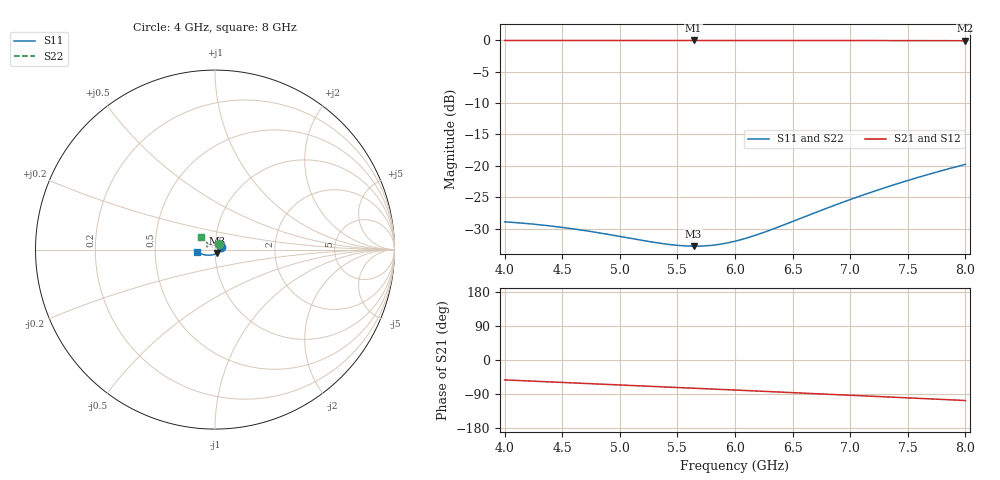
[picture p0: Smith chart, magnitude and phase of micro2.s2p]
! Sonnet Data File
! From: emgraph Version : 15.53-Lite
! From Emgraph Data: micro2
! Data File Written: 12/04/2014 16:25:20
!< HDATE 12/04/2014 16:14:41
!< MDATE 12/04/2014 16:14:41
# GHZ S RI R 50.00000
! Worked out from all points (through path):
!   201 points, 4 GHz to 8 GHz, reference 50 ohm
!   highest |S21| = 0.00 dB at 5.64 GHz (marker M1); lowest = 0.0 dB at 8 GHz (marker M2)
!   group delay of S21, straight-line fit = 37.8 ps
!   lowest |S11| = -32.8 dB at 5.64 GHz (marker M3), VSWR 1.05, Z = 51.2 - j1.99 ohm
!   |S11| at or under -10 dB: start of sweep to end of sweep
!   |S22| runs from -32.8 to -19.8 dB; largest |S21 - S12| = 0
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4  0.0338 0.0117  0.6082 -0.7929  0.6082 -0.7929  0.02 0.0297
!< P1 F=4.0 Eeff=(6.1975274 -5.7859e-4) Z0=(67.8871587 0.00316838) R=0.08298377 C=0.04148466
!< P2 F=4.0 Eeff=(6.1975274 -5.7859e-4) Z0=(67.8871587 0.00316838) R=0.08298377 C=0.04148466
4.18  0.0337 0.00863  0.5747 -0.8176  0.5747 -0.8176  0.0195 0.0288
4.34  0.0331 0.00573  0.544 -0.8384  0.544 -0.8384  0.0187 0.028
4.52  0.032 0.0023  0.5086 -0.8604  0.5086 -0.8604  0.0174 0.027
4.68  0.0306 -0.000838  0.4762 -0.8787  0.4762 -0.8787  0.016 0.0262
5  0.0264 -0.00724  0.4095 -0.9119  0.4095 -0.9119  0.0121 0.0246
5.34  0.0198 -0.0139  0.3357 -0.9416  0.3357 -0.9416  0.00649 0.0234
5.5  0.0159 -0.0169  0.3001 -0.9536  0.3001 -0.9536  0.00332 0.0231
5.64  0.0121 -0.0194  0.2686 -0.9629  0.2686 -0.9629  0.000281 0.023
5.74  0.00914 -0.0211  0.2458 -0.969  0.2458 -0.969  -0.00205 0.023
5.82  0.00663 -0.0224  0.2274 -0.9735  0.2274 -0.9735  -0.004 0.0231
5.92  0.00331 -0.0239  0.2043 -0.9785  0.2043 -0.9785  -0.00656 0.0233
6  0.000512 -0.025  0.1858 -0.9822  0.1858 -0.9822  -0.00869 0.0236
6.12  -0.00392 -0.0266  0.1577 -0.987  0.1577 -0.987  -0.012 0.0242
6.26  -0.00943 -0.0282  0.1248 -0.9917  0.1248 -0.9917  -0.0161 0.0251
6.4  -0.0153 -0.0294  0.0916 -0.9952  0.0916 -0.9952  -0.0204 0.0263
6.68  -0.0281 -0.0309  0.0249 -0.9987  0.0249 -0.9987  -0.0296 0.0296
7.02  -0.0453 -0.0306  -0.0567 -0.9968  -0.0567 -0.9968  -0.0415 0.0357
7.2  -0.0551 -0.0293  -0.1 -0.9929  -0.1 -0.9929  -0.0481 0.0399
7.34  -0.0629 -0.0278  -0.1335 -0.9886  -0.1335 -0.9886  -0.0533 0.0436
7.66  -0.0815 -0.0221  -0.2097 -0.974  -0.2097 -0.974  -0.0652 0.0539
8  -0.102 -0.0128  -0.2894 -0.9516  -0.2894 -0.9516  -0.0775 0.0675
